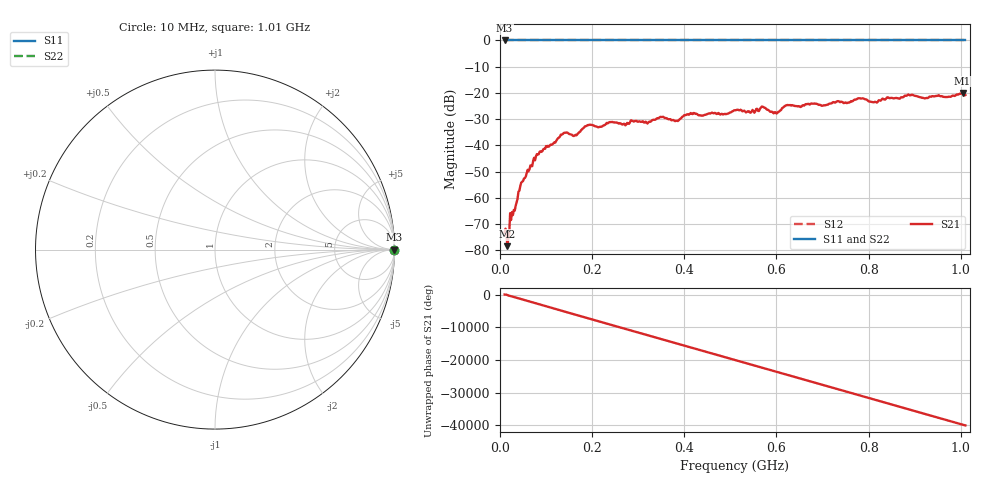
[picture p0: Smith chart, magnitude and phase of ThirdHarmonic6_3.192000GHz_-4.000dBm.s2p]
! 8/17/2025 9:40:03 AM
! C:\ANRITSUVNA\TEMP\TEMP.S2P
! CHANNEL.1
! TR.MEASUREMENT
! RAW.DATA
! RF.CORRECTION.OFF
! AVERAGING.OFF
! IF.BANDWIDTH: 5KHZ
! SWEEPTYPE:  FREQ.SWEEP(Linear)
! Reference Plane Port Info
! PORT:  PORT1  PORT2
! DISTANCE:  0  m  0  m
! TIME:  0  s  0  s
! PHASE.OFFSET:  0  deg.  0  deg.
! LOSS:  0  dB  0  dB
! REF.LOSS:  0  dB  0  dB
! REF.FREQ:  0  Hz  0  Hz
! Power Info
! POWER:  -20  dBm  -20  dBm
! EFF.POWER:  -20  dBm  -20  dBm
! SOURCE.ATTEN:  0  dB  0  dB
! TEST.ATTEN:  0  dB  0  dB
# GHZ S RI R 50.0
! FREQ.GHZ  S11RE  S11IM  S21RE  S21IM  S12RE  S12IM  S22RE  S22IM
!; PortSelection: Port_12
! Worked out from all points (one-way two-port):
!   501 points, 10 MHz to 1.01 GHz, reference 50 ohm
!   highest |S21| = -20.02 dB at 1.004 GHz (marker M1); lowest = -78.4 dB at 16 MHz (marker M2)
!   lowest |S11| = 0.0 dB at 10 MHz (marker M3)
!   |S11| at or under -10 dB: nowhere
!   |S22| runs from 0.0 to 0.0 dB; largest |S21 - S12| = 1.1
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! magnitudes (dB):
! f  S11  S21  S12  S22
! 10 MHz  0.0  -73.5  0.0  0.0
! 16 MHz  0.0  -78.4  0.0  0.0
! 26 MHz  0.0  -65.4  0.0  0.0
! 32 MHz  0.0  -64.8  0.0  0.0
! 44 MHz  0.0  -55.6  0.0  0.0
! 76 MHz  0.0  -45.7  0.0  0.0
! 136 MHz  0.0  -35.7  0.0  0.0
! 162 MHz  0.0  -36.3  0.0  0.0
! 178 MHz  0.0  -33.9  0.0  0.0
! 194 MHz  0.0  -32.1  0.0  0.0
! 322 MHz  0.0  -31.2  0.0  0.0
! 344 MHz  0.0  -29.6  0.0  0.0
! 384 MHz  0.0  -30.6  0.0  0.0
! 410 MHz  0.0  -28.3  0.0  0.0
! 510 MHz  0.0  -26.6  0.0  0.0
! 572 MHz  0.0  -25.4  0.0  0.0
! 598 MHz  0.0  -27.4  0.0  0.0
! 622 MHz  0.0  -24.7  0.0  0.0
! 678 MHz  0.0  -24.1  0.0  0.0
! 844 MHz  0.0  -21.9  0.0  0.0
! 1.004 GHz  0.0  -20.0  0.0  0.0
! 1.01 GHz  0.0  -20.8  0.0  0.0
